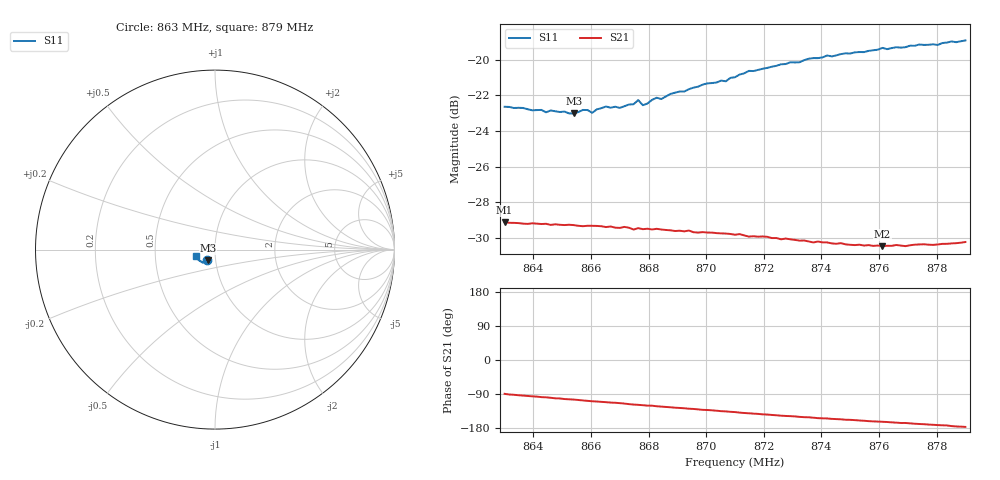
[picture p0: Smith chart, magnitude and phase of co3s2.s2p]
# HZ S RI R 50
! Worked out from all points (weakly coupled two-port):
!   101 points, 863 MHz to 879 MHz, reference 50 ohm
!   highest |S21| = -29.12 dB at 863 MHz (marker M1); lowest = -30.5 dB at 876.12 MHz (marker M2)
!   lowest |S11| = -23.0 dB at 865.4 MHz (marker M3), VSWR 1.15, Z = 46 - j5.45 ohm
!   |S11| at or under -10 dB: start of sweep to end of sweep
!   S12 and S22 are empty: the file has one direction only
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8.63e8  -0.0432 -0.0597  0.000453 -0.035  0 0  0 0
8.654e8  -0.0388 -0.059  -0.00853 -0.0333  0 0  0 0
8.6572e8  -0.039 -0.0608  -0.00983 -0.0327  0 0  0 0
8.6604e8  -0.0381 -0.0597  -0.0111 -0.0324  0 0  0 0
8.6652e8  -0.0415 -0.0611  -0.0123 -0.0316  0 0  0 0
8.67e8  -0.0384 -0.0624  -0.0136 -0.0309  0 0  0 0
8.6748e8  -0.0386 -0.0642  -0.0154 -0.0296  0 0  0 0
8.6764e8  -0.04 -0.0658  -0.016 -0.0296  0 0  0 0
8.678e8  -0.038 -0.0641  -0.0164 -0.0292  0 0  0 0
8.6828e8  -0.04 -0.0672  -0.0178 -0.0284  0 0  0 0
8.6844e8  -0.0404 -0.0662  -0.0182 -0.028  0 0  0 0
8.6876e8  -0.0415 -0.0685  -0.0189 -0.0273  0 0  0 0
8.7004e8  -0.0478 -0.0712  -0.0219 -0.0243  0 0  0 0
8.7068e8  -0.0493 -0.0716  -0.0233 -0.0227  0 0  0 0
8.71e8  -0.0527 -0.072  -0.0238 -0.0219  0 0  0 0
8.7148e8  -0.0561 -0.0741  -0.0247 -0.0202  0 0  0 0
8.7372e8  -0.0718 -0.071  -0.0272 -0.0143  0 0  0 0
8.7612e8  -0.0903 -0.0589  -0.0287 -0.00873  0 0  0 0
8.7644e8  -0.0914 -0.0568  -0.029 -0.00799  0 0  0 0
8.774e8  -0.098 -0.0503  -0.0298 -0.00585  0 0  0 0
8.7804e8  -0.1001 -0.0453  -0.03 -0.00435  0 0  0 0
8.79e8  -0.1073 -0.0359  -0.0307 -0.00185  0 0  0 0
